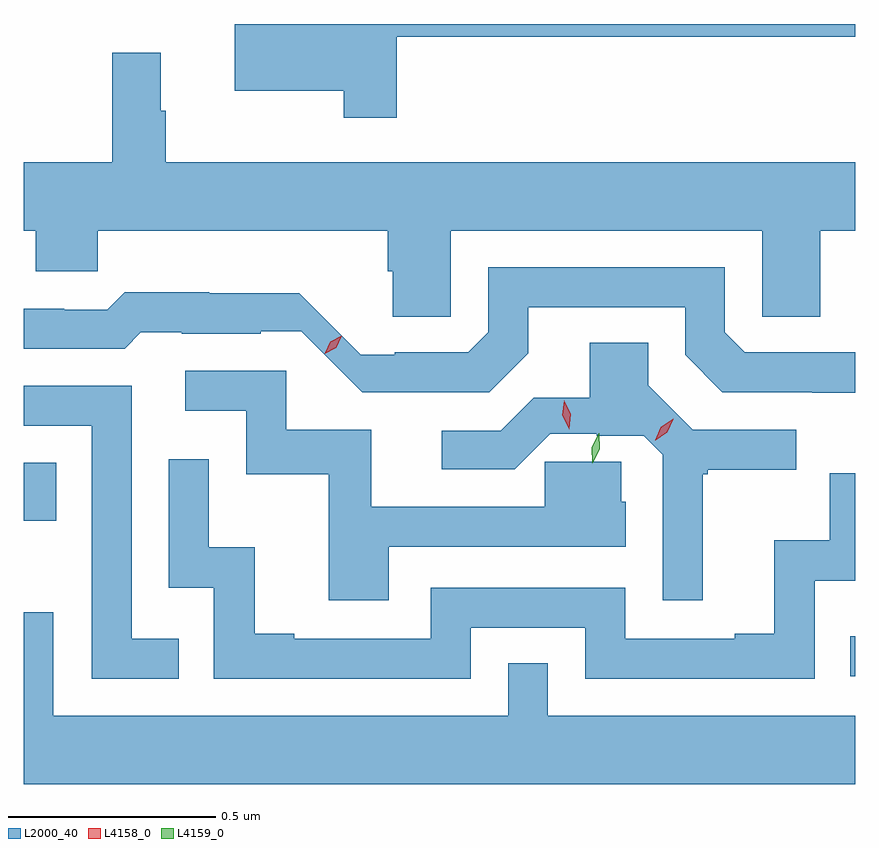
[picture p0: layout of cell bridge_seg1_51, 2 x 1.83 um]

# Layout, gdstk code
import gdstk
lib = gdstk.Library(unit=1e-6, precision=1e-09)
def R(c, l, rs):  # rectangles x0, y0, x1, y1
    for r in rs: c.add(gdstk.rectangle(r[:2], r[2:], *l))
def P(c, l, *ps):  # polygons
    for p in ps: c.add(gdstk.Polygon(p, *l))
L2000_40 = (2000, 40)
L4158_0 = (4158, 0)
L4159_0 = (4159, 0)

bridge_seg1_51 = lib.new_cell('bridge_seg1_51')
R(bridge_seg1_51, L2000_40, [(1117.153,529.347,1117.165,529.444), (1115.165,529.721,1115.243,529.861)])
P(bridge_seg1_51, L2000_40, [(1116.062,530.886),(1117.165,530.886),(1117.165,530.917),(1115.672,530.917),(1115.672,530.756),(1115.934,530.756),(1115.934,530.691),(1116.062,530.691)],
  [(1116.192,530.42),(1116.942,530.42),(1116.942,530.212),(1117.081,530.212),(1117.081,530.42),(1117.165,530.42),(1117.165,530.584),(1115.506,530.584),(1115.506,530.708),(1115.494,530.708),(1115.494,530.848),(1115.377,530.848),(1115.377,530.584),(1115.165,530.584),(1115.165,530.42),(1115.193,530.42),(1115.193,530.322),(1115.343,530.322),(1115.343,530.42),(1116.041,530.42),(1116.041,530.322),(1116.053,530.322),(1116.053,530.212),(1116.192,530.212)],
  [(1117.165,530.127),(1116.9,530.127),(1116.852,530.175),(1116.852,530.331),(1116.282,530.331),(1116.282,530.175),(1116.234,530.127),(1116.057,530.127),(1116.057,530.121),(1115.976,530.121),(1115.828,530.269),(1115.611,530.269),(1115.611,530.272),(1115.407,530.272),(1115.365,530.229),(1115.262,530.229),(1115.262,530.232),(1115.165,530.232),(1115.165,530.136),(1115.407,530.136),(1115.446,530.175),(1115.545,530.175),(1115.545,530.172),(1115.735,530.172),(1115.735,530.178),(1115.832,530.178),(1115.979,530.031),(1116.285,530.031),(1116.379,530.125),(1116.379,530.235),(1116.756,530.235),(1116.756,530.121),(1116.846,530.031),(1117.062,530.031),(1117.062,530.03),(1117.165,530.03)],
  [(1116.799,529.833),(1116.811,529.833),(1116.811,529.844),(1117.024,529.844),(1117.024,529.941),(1116.774,529.941),(1116.667,530.048),(1116.667,530.15),(1116.527,530.15),(1116.527,530.018),(1116.392,530.018),(1116.312,529.938),(1116.171,529.938),(1116.171,529.845),(1116.346,529.845),(1116.431,529.931),(1116.543,529.931),(1116.543,529.926),(1116.656,529.926),(1116.702,529.88),(1116.702,529.53),(1116.799,529.53)],
  [(1116.043,529.659),(1116.613,529.659),(1116.613,529.767),(1116.602,529.767),(1116.602,529.864),(1116.418,529.864),(1116.418,529.755),(1116.001,529.755),(1116.001,529.941),(1115.796,529.941),(1115.796,530.082),(1115.553,530.082),(1115.553,529.986),(1115.7,529.986),(1115.7,529.833),(1115.899,529.833),(1115.899,529.53),(1116.043,529.53)],
  [(1115.537,529.437),(1115.424,529.437),(1115.424,530.046),(1115.165,530.046),(1115.165,529.95),(1115.328,529.95),(1115.328,529.341),(1115.537,529.341)],
  [(1116.24,529.464),(1116.516,529.464),(1116.516,529.341),(1117.068,529.341),(1117.068,529.577),(1117.165,529.577),(1117.165,529.836),(1117.104,529.836),(1117.104,529.675),(1116.971,529.675),(1116.971,529.45),(1116.875,529.45),(1116.875,529.437),(1116.612,529.437),(1116.612,529.56),(1116.144,529.56),(1116.144,529.437),(1115.815,529.437),(1115.815,529.45),(1115.72,529.45),(1115.72,529.658),(1115.61,529.658),(1115.61,529.87),(1115.514,529.87),(1115.514,529.56),(1115.622,529.56),(1115.622,529.341),(1116.24,529.341)],
  [(1115.165,529.501),(1115.165,529.088),(1117.165,529.088),(1117.165,529.252),(1116.426,529.252),(1116.426,529.379),(1116.33,529.379),(1116.33,529.252),(1115.235,529.252),(1115.235,529.501)])
P(bridge_seg1_51, L4158_0, [(1115.889,530.123),(1115.889,530.123),(1115.902,530.152),(1115.93,530.167),(1115.93,530.167),(1115.93,530.167),(1115.917,530.138),(1115.889,530.123)],
  [(1116.684,529.915),(1116.684,529.915),(1116.698,529.947),(1116.727,529.967),(1116.727,529.967),(1116.727,529.966),(1116.713,529.934),(1116.685,529.915)],
  [(1116.477,529.942),(1116.477,529.943),(1116.461,529.975),(1116.465,530.01),(1116.465,530.011),(1116.465,530.01),(1116.481,529.978),(1116.477,529.943)])
P(bridge_seg1_51, L4159_0, [(1116.533,529.86),(1116.533,529.861),(1116.531,529.898),(1116.548,529.932),(1116.548,529.932),(1116.549,529.932),(1116.551,529.894),(1116.534,529.861)])

lib.write_gds('bridge_seg1_51.gds')
